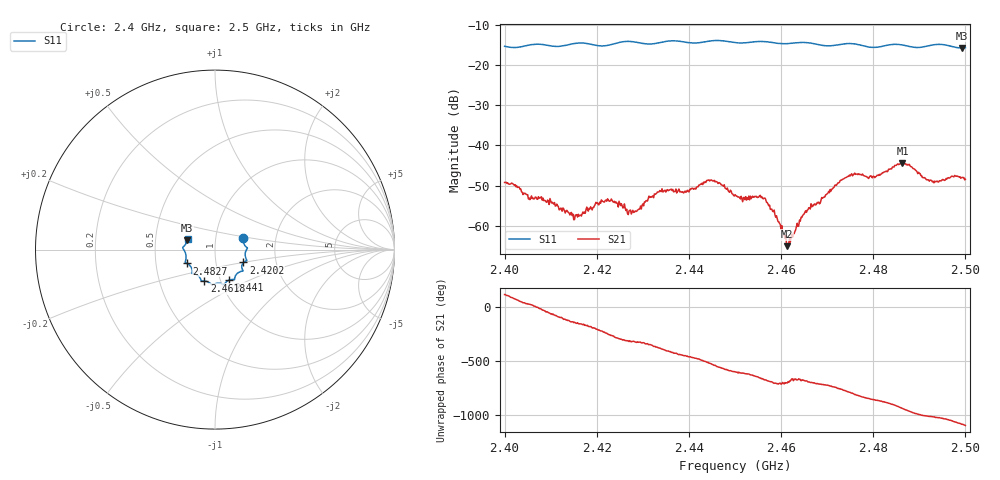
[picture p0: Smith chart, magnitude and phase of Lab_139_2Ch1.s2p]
# Hz S RI R 50
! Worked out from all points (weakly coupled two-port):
!   601 points, 2.4 GHz to 2.5 GHz, reference 50 ohm
!   highest |S21| = -44.45 dB at 2.4863 GHz (marker M1); lowest = -65.1 dB at 2.4613 GHz (marker M2)
!   lowest |S11| = -15.8 dB at 2.4993 GHz (marker M3), VSWR 1.39, Z = 36.5 + j3.85 ohm
!   |S11| at or under -10 dB: start of sweep to end of sweep
!   S12 and S22 are empty: the file has one direction only
!   S11 on the Smith chart (normalised r, x): 2.4 GHz: 1.36, +0.18; 2.4202 GHz: 1.36, -0.20; 2.441 GHz: 1.10, -0.39; 2.4618 GHz: 0.84, -0.30; 2.4827 GHz: 0.72, -0.12; 2.5 GHz: 0.73, +0.09
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2.4e9  0.1584 0.063  -0.00129 0.00321  0 0  0 0
2.414667e9  0.1746 -0.0539  -0.00102 -0.000873  0 0  0 0
2.416667e9  0.1772 -0.0611  -0.00124 -0.000461  0 0  0 0
2.420167e9  0.1585 -0.0713  -0.00164 0.00103  0 0  0 0
2.422833e9  0.1493 -0.0959  -0.000382 0.00198  0 0  0 0
2.428e9  0.1523 -0.1198  0.00111 0.000954  0 0  0 0
2.433333e9  0.1115 -0.1509  0.00249 -0.000832  0 0  0 0
2.441e9  0.0787 -0.1697  -0.00104 -0.00265  0 0  0 0
2.445e9  0.0522 -0.1929  -0.00364 -0.000457  0 0  0 0
2.45e9  0.0285 -0.1873  -0.00113 0.00216  0 0  0 0
2.456333e9  -0.0173 -0.1947  0.0016 0.00153  0 0  0 0
2.461333e9  -0.0543 -0.1757  0.000542 0.000138  0 0  0 0
2.461833e9  -0.0591 -0.1753  0.00058 0.000381  0 0  0 0
2.464833e9  -0.0758 -0.1746  0.00108 0.000869  0 0  0 0
2.466667e9  -0.0787 -0.1683  0.00162 0.000607  0 0  0 0
2.474833e9  -0.1272 -0.1339  0.00145 -0.00403  0 0  0 0
2.482667e9  -0.1561 -0.0772  -0.00453 -0.0014  0 0  0 0
2.483333e9  -0.1604 -0.0751  -0.00502 -0.000672  0 0  0 0
2.486333e9  -0.1647 -0.0649  -0.00459 0.00384  0 0  0 0
2.492667e9  -0.1763 0.00299  0.00162 0.00328  0 0  0 0
2.499333e9  -0.1541 0.0513  0.00398 -0.000454  0 0  0 0
2.5e9  -0.1523 0.0609  0.00362 -0.00114  0 0  0 0
